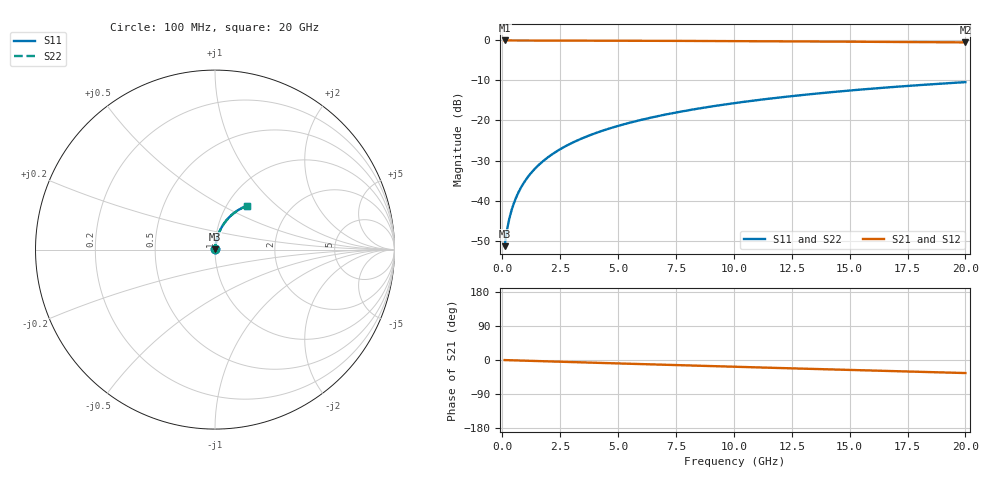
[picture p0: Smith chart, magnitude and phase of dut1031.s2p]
! Touchstone file exported from HFSS 2026.1.0
!  File:  C:/ffzhzh/LocalFiles/Ansys_Project_Files/temp_train_BSMRDL_1031_1783173594_43440.aedt
!  Generated:  10:01:12 PM Jul  4, 2026
!  Design:  BSMRDL
!  Project:  temp_train_BSMRDL_1031_1783173594_43440
! Variables:
!  h_bsmrdl = 4.92um
!  h_ox = 20um
!  h_rdl = 5um
!  h_sub = 80um
!  h_tmrdl = 5um
!  h_tsv = 80um
!  h_via = 3um
!  l_bsmrdl = 507.51um
!  l_sub = 907.51um
!  l_tmrdl = 200um
!  m_sub = 200um
!  pitch = 45um
!  r_tsv = 6um
!  s_tmrdl = 10um
!  w_bsmrdl = 21.19um
!  w_sub = 500um
!  w_tmrdl = 12um
!  x_tsv_center1 = 206um
!  x_tsv_center2 = 734.7um
!  x_tsv_center3 = 946.7um
!  x_tsv_center4 = 1475.4um
!  x_tsv_center5 = 1687.4um
!  x_tsv_center6 = 2216.1um
# GHz S MA R 50.000000
! Terminal data exported
! Port[1] = BSM_RDL1_1_T1
! Port[2] = BSM_RDL1_1_T2
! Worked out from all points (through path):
!   200 points, 100 MHz to 20 GHz, reference 50 ohm
!   highest |S21| = -0.02 dB at 100 MHz (marker M1); lowest = -0.5 dB at 20 GHz (marker M2)
!   group delay of S21, straight-line fit = 4.77 ps
!   lowest |S11| = -51.4 dB at 100 MHz (marker M3), VSWR 1.01, Z = 50.2 + j0.193 ohm
!   |S11| at or under -10 dB: start of sweep to end of sweep
!   |S22| runs from -51.4 to -10.4 dB; largest |S21 - S12| = 4e-15
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0.1  0.002696 45.3  0.9981 -0.2  0.9981 -0.2  0.002696 45.3
! Gamma 0 0 0 0
! Port Impedance 50 0 50 0
0.2  0.004255 61.4  0.998 -0.4  0.998 -0.4  0.004255 61.4
0.3  0.005902 68.5  0.9979 -0.6  0.9979 -0.6  0.005902 68.5
0.4  0.007575 72.6  0.9978 -0.7  0.9978 -0.7  0.007575 72.6
0.5  0.009267 75.2  0.9977 -0.9  0.9977 -0.9  0.009267 75.2
0.6  0.01097 77.0  0.9977 -1.1  0.9977 -1.1  0.01097 77.0
0.8  0.01442 79.2  0.9976 -1.5  0.9976 -1.5  0.01442 79.2
1.1  0.01962 80.8  0.9974 -2.0  0.9974 -2.0  0.01962 80.8
1.5  0.02656 81.6  0.997 -2.8  0.997 -2.8  0.02656 81.6
1.8  0.03175 81.7  0.9967 -3.3  0.9967 -3.3  0.03175 81.7
2.1  0.03693 81.6  0.9964 -3.9  0.9964 -3.9  0.03693 81.6
2.7  0.0472 81.1  0.9956 -4.9  0.9956 -4.9  0.0472 81.1
3.5  0.06072 80.0  0.9944 -6.4  0.9944 -6.4  0.06072 80.0
4.2  0.07239 79.0  0.9931 -7.6  0.9931 -7.6  0.0724 79.0
5  0.08557 77.8  0.9916 -9.1  0.9916 -9.1  0.08557 77.8
5.9  0.1002 76.4  0.9897 -10.6  0.9897 -10.6  0.1002 76.4
6.8  0.1146 74.9  0.9877 -12.2  0.9877 -12.2  0.1146 74.9
8.3  0.1382 72.5  0.9841 -14.8  0.9841 -14.8  0.1382 72.5
10.1  0.1658 69.6  0.9792 -18.0  0.9792 -18.0  0.1659 69.6
13.4  0.2143 64.3  0.9688 -23.6  0.9688 -23.6  0.2143 64.3
16.7  0.2595 59.1  0.9571 -29.1  0.9571 -29.1  0.2595 59.0
20  0.3012 53.9  0.9444 -34.4  0.9444 -34.4  0.3012 53.9
